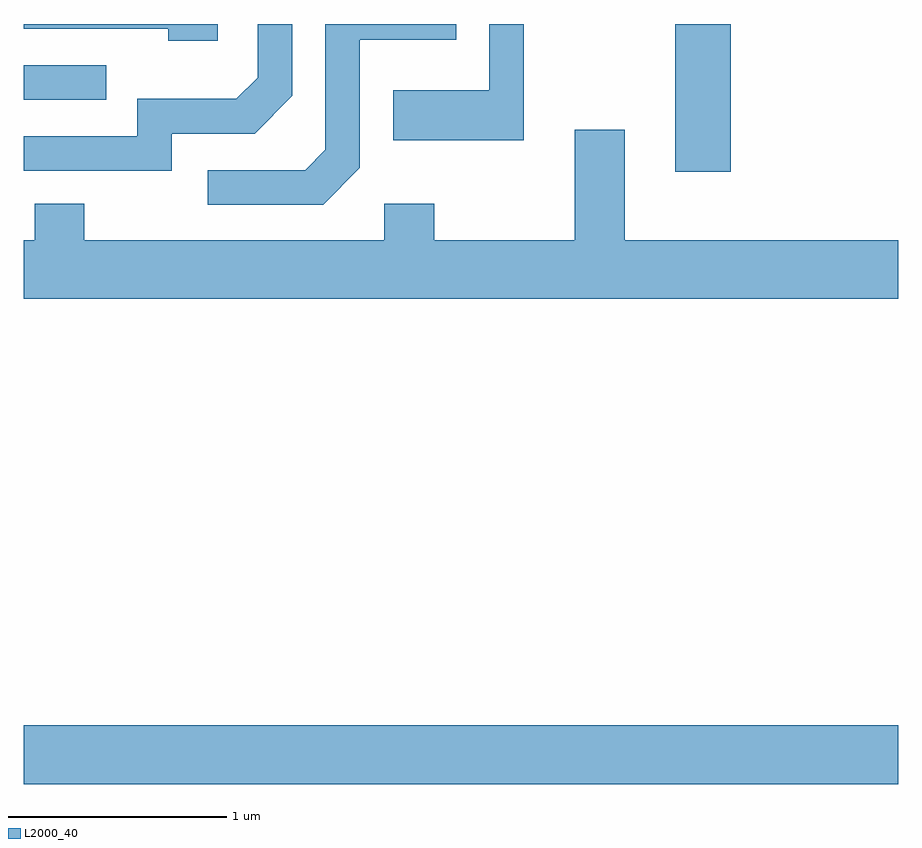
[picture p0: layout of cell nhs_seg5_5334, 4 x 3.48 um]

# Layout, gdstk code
import gdstk
lib = gdstk.Library(unit=1e-6, precision=1e-09)
def R(c, l, rs):  # rectangles x0, y0, x1, y1
    for r in rs: c.add(gdstk.rectangle(r[:2], r[2:], *l))
def P(c, l, *ps):  # polygons
    for p in ps: c.add(gdstk.Polygon(p, *l))
L2000_40 = (2000, 40)

nhs_seg5_5334 = lib.new_cell('nhs_seg5_5334')
R(nhs_seg5_5334, L2000_40, [(343.611,1434.596,347.611,1434.864), (346.591,1437.396,346.844,1438.072), (343.611,1437.726,343.988,1437.884)])
P(nhs_seg5_5334, L2000_40, [(345.899,1438.072),(345.741,1438.072),(345.741,1437.769),(345.301,1437.769),(345.301,1437.541),(345.899,1437.541)],
  [(344.289,1437.571),(344.667,1437.571),(344.839,1437.744),(344.839,1438.072),(344.681,1438.072),(344.681,1437.827),(344.584,1437.729),(344.131,1437.729),(344.131,1437.559),(343.611,1437.559),(343.611,1437.401),(344.289,1437.401)],
  [(345.149,1437.414),(345.149,1438.001),(345.589,1438.001),(345.589,1438.072),(344.991,1438.072),(344.991,1437.497),(344.899,1437.404),(344.453,1437.404),(344.453,1437.246),(344.982,1437.246)],
  [(344.499,1438.072),(343.611,1438.072),(343.611,1438.051),(344.271,1438.051),(344.271,1437.996),(344.499,1437.996)],
  [(347.611,1437.084),(346.359,1437.084),(346.359,1437.589),(346.131,1437.589),(346.131,1437.084),(345.489,1437.084),(345.489,1437.249),(345.261,1437.249),(345.261,1437.084),(343.889,1437.084),(343.889,1437.249),(343.661,1437.249),(343.661,1437.084),(343.611,1437.084),(343.611,1436.816),(347.611,1436.816)])

lib.write_gds('nhs_seg5_5334.gds')
